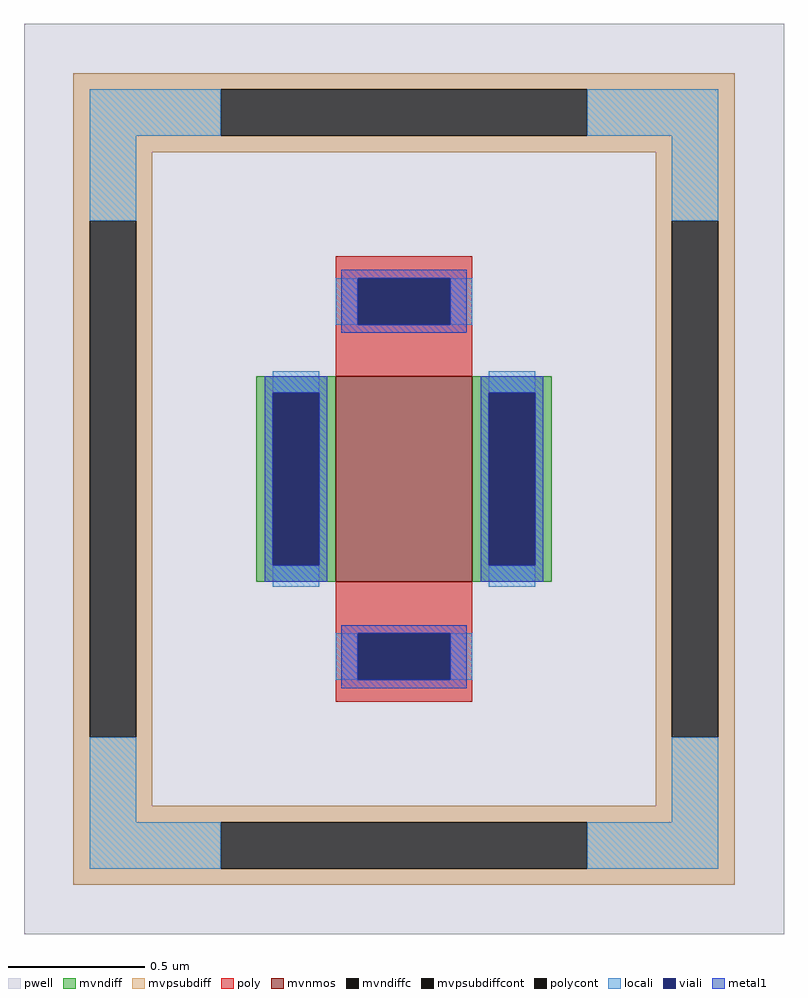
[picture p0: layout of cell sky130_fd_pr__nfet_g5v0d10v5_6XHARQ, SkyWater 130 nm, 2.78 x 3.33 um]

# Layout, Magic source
magic
tech sky130B
magscale 1 2
<< pwell >>
rect -278 -333 278 333
<< mvnmos >>
rect -50 -75 50 75
<< mvndiff >>
rect -108 63 -50 75
rect -108 -63 -96 63
rect -62 -63 -50 63
rect -108 -75 -50 -63
rect 50 63 108 75
rect 50 -63 62 63
rect 96 -63 108 63
rect 50 -75 108 -63
<< mvndiffc >>
rect -96 -63 -62 63
rect 62 -63 96 63
<< mvpsubdiff >>
rect -242 285 242 297
rect -242 251 -134 285
rect 134 251 242 285
rect -242 239 242 251
rect -242 189 -184 239
rect -242 -189 -230 189
rect -196 -189 -184 189
rect 184 189 242 239
rect -242 -239 -184 -189
rect 184 -189 196 189
rect 230 -189 242 189
rect 184 -239 242 -189
rect -242 -251 242 -239
rect -242 -285 -134 -251
rect 134 -285 242 -251
rect -242 -297 242 -285
<< mvpsubdiffcont >>
rect -134 251 134 285
rect -230 -189 -196 189
rect 196 -189 230 189
rect -134 -285 134 -251
<< poly >>
rect -50 147 50 163
rect -50 113 -34 147
rect 34 113 50 147
rect -50 75 50 113
rect -50 -113 50 -75
rect -50 -147 -34 -113
rect 34 -147 50 -113
rect -50 -163 50 -147
<< polycont >>
rect -34 113 34 147
rect -34 -147 34 -113
<< locali >>
rect -230 251 -134 285
rect 134 251 230 285
rect -230 189 -196 251
rect 196 189 230 251
rect -50 113 -34 147
rect 34 113 50 147
rect -96 63 -62 79
rect -96 -79 -62 -63
rect 62 63 96 79
rect 62 -79 96 -63
rect -50 -147 -34 -113
rect 34 -147 50 -113
rect -230 -251 -196 -189
rect 196 -251 230 -189
rect -230 -285 -134 -251
rect 134 -285 230 -251
<< viali >>
rect -34 113 34 147
rect -96 -63 -62 63
rect 62 -63 96 63
rect -34 -147 34 -113
<< metal1 >>
rect -46 147 46 153
rect -46 113 -34 147
rect 34 113 46 147
rect -46 107 46 113
rect -102 63 -56 75
rect -102 -63 -96 63
rect -62 -63 -56 63
rect -102 -75 -56 -63
rect 56 63 102 75
rect 56 -63 62 63
rect 96 -63 102 63
rect 56 -75 102 -63
rect -46 -113 46 -107
rect -46 -147 -34 -113
rect 34 -147 46 -113
rect -46 -153 46 -147
<< properties >>
string FIXED_BBOX -213 -268 213 268
string gencell sky130_fd_pr__nfet_g5v0d10v5
string library sky130
string parameters w 0.75 l 0.5 m 1 nf 1 diffcov 100 polycov 100 guard 1 glc 1 grc 1 gtc 1 gbc 1 tbcov 100 rlcov 100 topc 1 botc 1 poverlap 0 doverlap 1 lmin 0.50 wmin 0.42 compatible {sky130_fd_pr__nfet_01v8 sky130_fd_pr__nfet_01v8_lvt  sky130_fd_bs_flash__special_sonosfet_star  sky130_fd_pr__nfet_g5v0d10v5 sky130_fd_pr__nfet_05v0_nvt  sky130_fd_pr__nfet_03v3_nvt} full_metal 1 viasrc 100 viadrn 100 viagate 100 viagb 0 viagr 0 viagl 0 viagt 0
<< end >>
